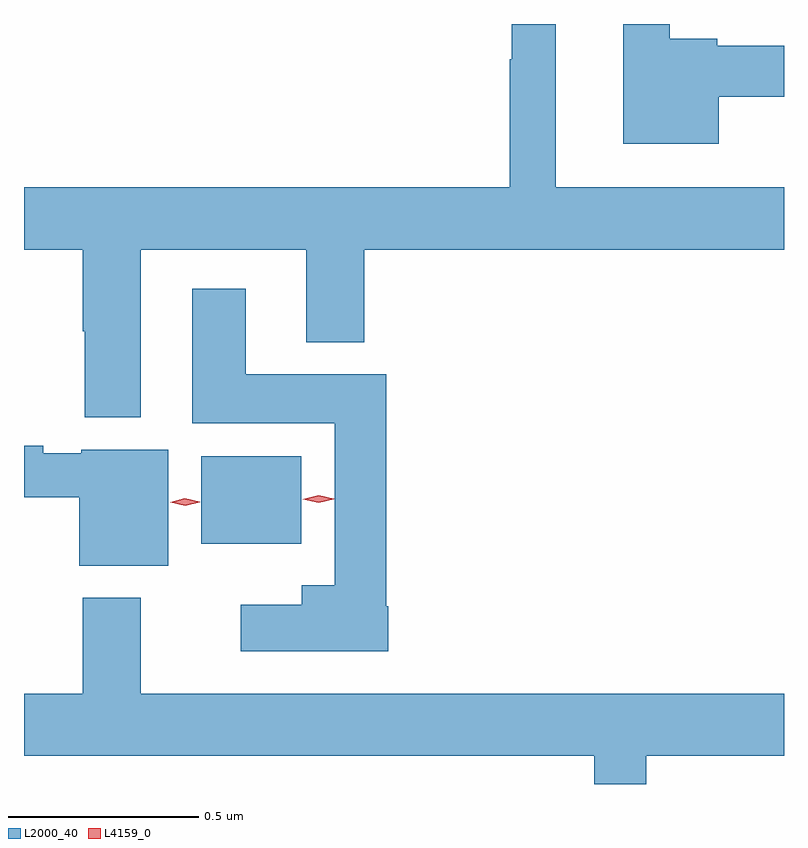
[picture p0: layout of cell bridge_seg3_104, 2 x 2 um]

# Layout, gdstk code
import gdstk
lib = gdstk.Library(unit=1e-6, precision=1e-09)
def R(c, l, rs):  # rectangles x0, y0, x1, y1
    for r in rs: c.add(gdstk.rectangle(r[:2], r[2:], *l))
def P(c, l, *ps):  # polygons
    for p in ps: c.add(gdstk.Polygon(p, *l))
L2000_40 = (2000, 40)
L4159_0 = (4159, 0)

bridge_seg3_104 = lib.new_cell('bridge_seg3_104')
R(bridge_seg3_104, L2000_40, [(556.841,729.446,557.104,729.676)])
P(bridge_seg3_104, L2000_40, [(556.681,730.22),(557.117,730.22),(557.117,729.977),(557.27,729.977),(557.27,730.22),(558.374,730.22),(558.374,730.384),(557.773,730.384),(557.773,730.814),(557.658,730.814),(557.658,730.721),(557.652,730.721),(557.652,730.384),(556.374,730.384),(556.374,730.22),(556.529,730.22),(556.529,730.005),(556.534,730.005),(556.534,729.779),(556.681,729.779)],
  [(558.202,730.622),(558.374,730.622),(558.374,730.757),(558.198,730.757),(558.198,730.775),(558.073,730.775),(558.073,730.814),(557.951,730.814),(557.951,730.499),(558.202,730.499)],
  [(557.332,729.282),(557.327,729.282),(557.327,729.892),(556.957,729.892),(556.957,730.117),(556.817,730.117),(556.817,729.764),(557.192,729.764),(557.192,729.337),(557.105,729.337),(557.105,729.286),(556.944,729.286),(556.944,729.164),(557.332,729.164)],
  [(556.753,729.694),(556.524,729.694),(556.524,729.684),(556.424,729.684),(556.424,729.704),(556.374,729.704),(556.374,729.568),(556.52,729.568),(556.52,729.389),(556.753,729.389)],
  [(558.011,728.888),(558.374,728.888),(558.374,729.052),(556.681,729.052),(556.681,729.304),(556.529,729.304),(556.529,729.052),(556.374,729.052),(556.374,728.888),(557.875,728.888),(557.875,728.814),(558.011,728.814)])
P(bridge_seg3_104, L4159_0, [(557.149,729.554),(557.108,729.564),(557.108,729.564),(557.108,729.564),(557.149,729.574),(557.189,729.565),(557.19,729.565),(557.189,729.564)],
  [(556.798,729.546),(556.759,729.556),(556.759,729.556),(556.759,729.556),(556.797,729.566),(556.836,729.557),(556.836,729.556),(556.836,729.556)])

lib.write_gds('bridge_seg3_104.gds')
